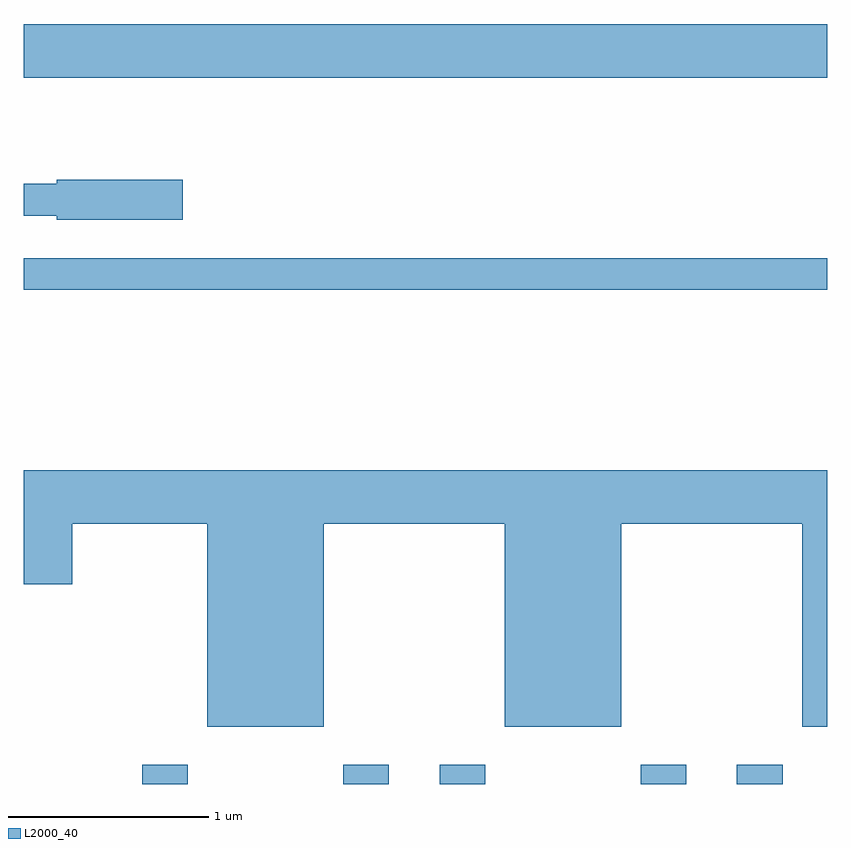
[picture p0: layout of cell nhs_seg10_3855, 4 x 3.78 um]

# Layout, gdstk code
import gdstk
lib = gdstk.Library(unit=1e-6, precision=1e-09)
def R(c, l, rs):  # rectangles x0, y0, x1, y1
    for r in rs: c.add(gdstk.rectangle(r[:2], r[2:], *l))
def P(c, l, *ps):  # polygons
    for p in ps: c.add(gdstk.Polygon(p, *l))
L2000_40 = (2000, 40)

nhs_seg10_3855 = lib.new_cell('nhs_seg10_3855')
R(nhs_seg10_3855, L2000_40, [(298.201,2212.522,298.429,2212.619), (299.201,2212.522,299.429,2212.619), (299.681,2212.522,299.909,2212.619), (300.681,2212.522,300.909,2212.619), (301.161,2212.522,301.389,2212.619), (297.611,2214.981,301.611,2215.139), (297.611,2216.036,301.611,2216.304)])
P(nhs_seg10_3855, L2000_40, [(298.404,2215.529),(297.776,2215.529),(297.776,2215.509),(297.611,2215.509),(297.611,2215.351),(297.776,2215.351),(297.776,2215.331),(298.404,2215.331)],
  [(299.104,2213.816),(300.006,2213.816),(300.006,2212.806),(300.584,2212.806),(300.584,2213.816),(301.486,2213.816),(301.486,2212.806),(301.611,2212.806),(301.611,2214.084),(297.611,2214.084),(297.611,2213.516),(297.854,2213.516),(297.854,2213.816),(298.526,2213.816),(298.526,2212.806),(299.104,2212.806)])

lib.write_gds('nhs_seg10_3855.gds')
